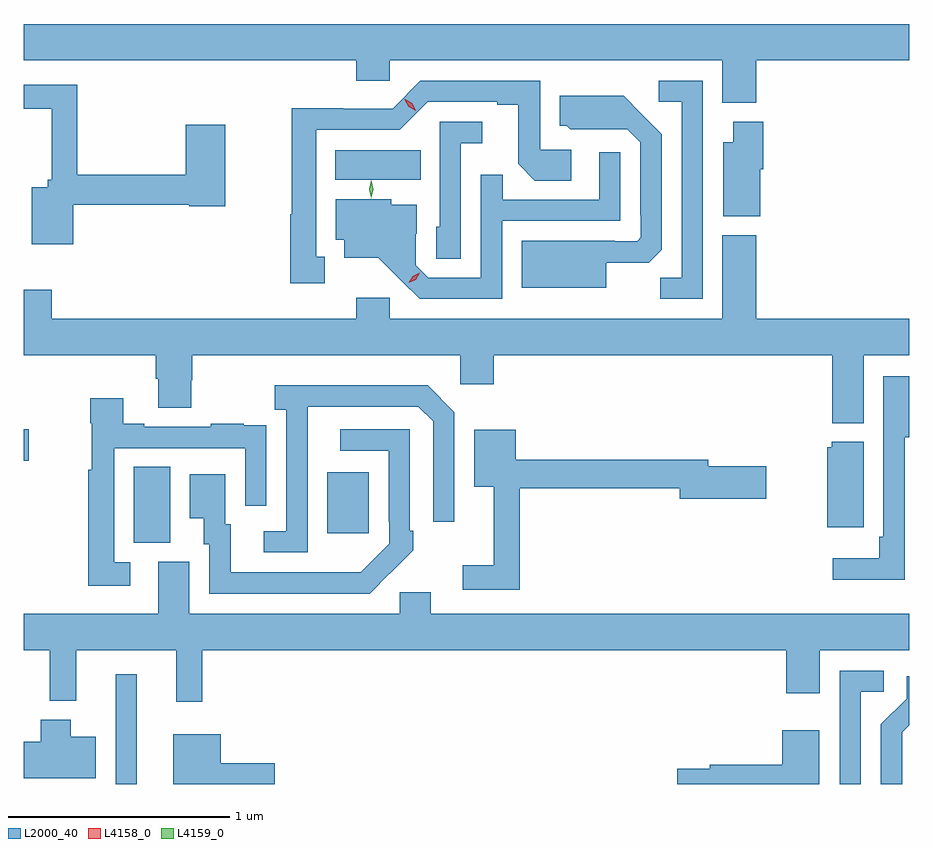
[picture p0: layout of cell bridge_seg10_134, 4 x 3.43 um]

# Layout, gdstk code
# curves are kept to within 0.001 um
import gdstk
lib = gdstk.Library(unit=1e-6, precision=1e-09)
def R(c, l, rs):  # rectangles x0, y0, x1, y1
    for r in rs: c.add(gdstk.rectangle(r[:2], r[2:], *l))
def P(c, l, *ps):  # polygons
    for p in ps: c.add(gdstk.Polygon(p, *l))
L2000_40 = (2000, 40)
L4158_0 = (4158, 0)
L4159_0 = (4159, 0)

bridge_seg10_134 = lib.new_cell('bridge_seg10_134')
R(bridge_seg10_134, L2000_40, [(347.943,1301.044,348.04,1301.539), (348.026,1302.133,348.19,1302.476), (348.899,1302.177,349.087,1302.451), (347.528,1302.503,347.551,1302.645), (348.935,1303.772,349.322,1303.906)])
P(bridge_seg10_134, L2000_40, [(350.837,1304.312),(351.528,1304.312),(351.528,1304.476),(347.528,1304.476),(347.528,1304.312),(349.031,1304.312),(349.031,1304.219),(349.182,1304.219),(349.182,1304.312),(350.684,1304.312),(350.684,1304.12),(350.837,1304.12)],
  [(350.595,1304.22),(350.397,1304.22),(350.397,1304.124),(350.499,1304.124),(350.499,1303.331),(350.404,1303.331),(350.404,1303.236),(350.595,1303.236)],
  [(348.889,1303.425),(348.85,1303.425),(348.85,1303.998),(349.227,1303.998),(349.353,1304.124),(349.667,1304.124),(349.667,1304.112),(349.761,1304.112),(349.761,1303.844),(349.837,1303.768),(350.002,1303.768),(350.002,1303.908),(349.86,1303.908),(349.86,1304.22),(349.32,1304.22),(349.194,1304.094),(348.972,1304.094),(348.972,1304.096),(348.739,1304.096),(348.739,1303.617),(348.732,1303.617),(348.732,1303.305),(348.889,1303.305)],
  [(347.752,1303.66),(348.276,1303.66),(348.276,1303.652),(348.438,1303.652),(348.438,1304.02),(348.26,1304.02),(348.26,1303.796),(347.771,1303.796),(347.771,1304.202),(347.528,1304.202),(347.528,1304.094),(347.654,1304.094),(347.654,1303.773),(347.636,1303.773),(347.636,1303.738),(347.564,1303.738),(347.564,1303.481),(347.752,1303.481)],
  [(350.158,1303.397),(350.35,1303.397),(350.409,1303.456),(350.409,1303.978),(350.237,1304.152),(349.949,1304.152),(349.949,1304.016),(349.98,1304.016),(349.996,1304),(350.253,1304.001),(350.313,1303.941),(350.313,1303.612),(350.316,1303.612),(350.316,1303.512),(350.298,1303.494),(350.198,1303.494),(350.198,1303.498),(349.778,1303.498),(349.778,1303.286),(350.158,1303.286)],
  [(350.854,1303.821),(350.867,1303.821),(350.867,1304.035),(350.732,1304.035),(350.732,1303.942),(350.687,1303.942),(350.687,1303.607),(350.854,1303.607)],
  [(349.503,1303.937),(349.6,1303.937),(349.6,1304.034),(349.407,1304.034),(349.407,1303.56),(349.392,1303.56),(349.392,1303.417),(349.503,1303.417)],
  [(349.689,1303.587),(350.223,1303.587),(350.223,1303.897),(350.127,1303.897),(350.127,1303.683),(349.691,1303.683),(349.691,1303.796),(349.593,1303.796),(349.593,1303.329),(349.356,1303.329),(349.299,1303.386),(349.299,1303.528),(349.303,1303.528),(349.303,1303.66),(349.188,1303.66),(349.188,1303.684),(348.938,1303.684),(348.938,1303.502),(348.977,1303.502),(348.977,1303.421),(349.129,1303.421),(349.316,1303.236),(349.689,1303.236)],
  [(351.322,1302.98),(351.528,1302.98),(351.528,1303.144),(350.837,1303.144),(350.837,1303.522),(350.684,1303.522),(350.684,1303.144),(349.182,1303.144),(349.182,1303.24),(349.031,1303.24),(349.031,1303.144),(347.654,1303.144),(347.654,1303.276),(347.528,1303.276),(347.528,1302.98),(348.125,1302.98),(348.125,1302.874),(348.137,1302.874),(348.137,1302.742),(348.285,1302.742),(348.285,1302.867),(348.29,1302.867),(348.29,1302.98),(349.5,1302.98),(349.5,1302.849),(349.652,1302.849),(349.652,1302.98),(351.179,1302.98),(351.179,1302.674),(351.322,1302.674)],
  [(351.507,1302.609),(351.528,1302.609),(351.528,1302.886),(351.411,1302.886),(351.411,1302.16),(351.391,1302.16),(351.391,1302.064),(351.183,1302.064),(351.183,1301.966),(351.507,1301.966)],
  [(348.81,1302.547),(348.811,1302.747),(349.311,1302.747),(349.377,1302.681),(349.377,1302.228),(349.473,1302.228),(349.473,1302.723),(349.352,1302.844),(348.663,1302.844),(348.663,1302.734),(348.714,1302.734),(348.714,1302.186),(348.612,1302.186),(348.612,1302.09),(348.81,1302.09)],
  [(348.01,1302.045),(347.937,1302.045),(347.937,1302.561),(348.528,1302.561),(348.528,1302.3),(348.624,1302.3),(348.624,1302.554),(348.623,1302.554),(348.623,1302.663),(348.521,1302.663),(348.521,1302.67),(348.373,1302.67),(348.373,1302.657),(348.073,1302.657),(348.073,1302.67),(347.977,1302.67),(347.977,1302.787),(347.828,1302.787),(347.828,1302.674),(347.836,1302.674),(347.836,1302.464),(347.821,1302.464),(347.821,1301.94),(348.01,1301.94)],
  [(349.181,1301.995),(349.182,1301.994),(349.287,1302.099),(349.287,1302.187),(349.272,1302.187),(349.272,1302.645),(348.957,1302.645),(348.957,1302.549),(349.176,1302.549),(349.176,1302.229),(349.179,1302.229),(349.179,1302.129),(349.051,1302.001),(348.463,1302),(348.463,1302.216),(348.439,1302.216),(348.439,1302.442),(348.278,1302.442),(348.278,1302.245),(348.341,1302.245),(348.341,1302.126),(348.366,1302.126),(348.366,1301.904),(349.09,1301.904)],
  [(349.769,1302.379),(350.492,1302.379),(350.492,1302.332),(350.881,1302.332),(350.881,1302.479),(350.62,1302.479),(350.62,1302.508),(349.75,1302.508),(349.75,1302.643),(349.562,1302.643),(349.562,1302.386),(349.652,1302.386),(349.652,1302.031),(349.512,1302.031),(349.512,1301.922),(349.769,1301.922)],
  [(351.322,1302.589),(351.177,1302.589),(351.177,1302.564),(351.158,1302.564),(351.158,1302.203),(351.322,1302.203)],
  [(348.335,1301.648),(350.972,1301.648),(350.972,1301.454),(351.124,1301.454),(351.124,1301.648),(351.528,1301.648),(351.528,1301.812),(349.366,1301.812),(349.366,1301.91),(349.227,1301.91),(349.227,1301.812),(348.277,1301.812),(348.277,1302.048),(348.137,1302.048),(348.137,1301.812),(347.528,1301.812),(347.528,1301.648),(347.647,1301.648),(347.647,1301.42),(347.765,1301.42),(347.765,1301.648),(348.218,1301.648),(348.218,1301.415),(348.335,1301.415)],
  [(351.309,1301.46),(351.412,1301.46),(351.412,1301.556),(351.213,1301.556),(351.213,1301.044),(351.309,1301.044)],
  [(351.495,1301.277),(351.528,1301.31),(351.528,1301.53),(351.515,1301.53),(351.515,1301.43),(351.399,1301.314),(351.399,1301.044),(351.495,1301.044)],
  [(347.854,1301.257),(347.74,1301.257),(347.74,1301.335),(347.606,1301.335),(347.606,1301.235),(347.528,1301.235),(347.528,1301.069),(347.854,1301.069)],
  [(351.121,1301.287),(350.954,1301.287),(350.954,1301.132),(350.626,1301.132),(350.626,1301.112),(350.48,1301.112),(350.48,1301.044),(351.121,1301.044)],
  [(348.661,1301.138),(348.418,1301.138),(348.418,1301.269),(348.203,1301.269),(348.203,1301.044),(348.661,1301.044)])
P(bridge_seg10_134, L4158_0, [(349.268,1303.307),(349.268,1303.307),(349.286,1303.337),(349.317,1303.352),(349.317,1303.352),(349.317,1303.352),(349.299,1303.322),(349.268,1303.307)],
  [(349.299,1304.084),(349.268,1304.103),(349.25,1304.135),(349.25,1304.136),(349.251,1304.136),(349.282,1304.117),(349.299,1304.084),(349.299,1304.084)])
P(bridge_seg10_134, L4159_0, [(349.097,1303.69),(349.097,1303.691),(349.088,1303.73),(349.098,1303.77),(349.098,1303.77),(349.098,1303.77),(349.108,1303.73),(349.097,1303.691)])

lib.write_gds('bridge_seg10_134.gds')
